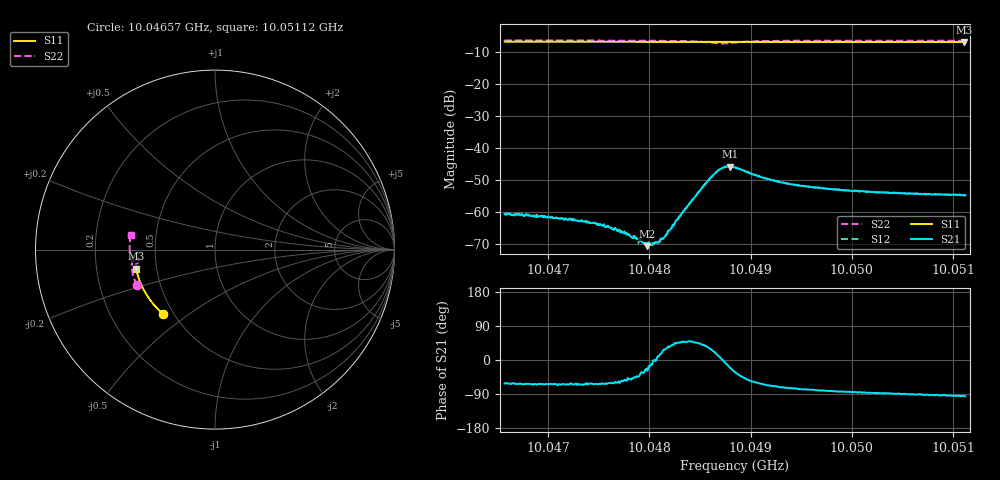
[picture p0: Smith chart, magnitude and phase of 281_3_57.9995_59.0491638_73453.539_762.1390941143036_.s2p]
#  HZ  S  RI  R  50.00
! Rohde & Schwarz Vector Network Analyzer
! Rohde-Schwarz,ZNB20-2Port,1311601062101988,3.16
! Created: UTC 3/21/2024, 1:02:53 AM
! freq[Hz]  re:S11  im:S11  re:S21  im:S21  re:S12  im:S12  re:S22  im:S22
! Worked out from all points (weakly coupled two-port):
!   401 points, 10.04657 GHz to 10.05112 GHz, reference 50 ohm
!   highest |S21| = -45.86 dB at 10.0488 GHz (marker M1); lowest = -70.8 dB at 10.04798 GHz (marker M2)
!   lowest |S11| = -6.9 dB at 10.05111 GHz (marker M3), VSWR 2.66, Z = 19.1 - j5.09 ohm
!   |S11| at or under -10 dB: nowhere
!   |S22| runs from -7.3 to -6.4 dB; largest |S21 - S12| = 0.00034
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1.0046571e10  -0.2898 -0.3585  0.000432 -0.000818  0.000496 -0.000807  -0.4359 -0.1998
1.0047196e10  -0.3199 -0.3301  0.000329 -0.000659  0.000378 -0.000675  -0.4509 -0.1599
1.0047333e10  -0.3261 -0.3235  0.000304 -0.00064  0.000373 -0.000641  -0.4536 -0.1509
1.0047526e10  -0.3349 -0.3141  0.00029 -0.00054  0.000346 -0.000526  -0.4572 -0.1377
1.0047617e10  -0.3386 -0.3096  0.000272 -0.000491  0.000318 -0.000473  -0.4587 -0.1314
1.0047777e10  -0.3455 -0.3015  0.00025 -0.000354  0.000303 -0.00035  -0.4611 -0.1201
1.0047834e10  -0.3478 -0.2986  0.000258 -0.000288  0.000299 -0.000271  -0.4618 -0.116
1.0047982e10  -0.3538 -0.2908  0.000254 -0.000137  0.000307 -8.42e-05  -0.4633 -0.1046
1.0048027e10  -0.3556 -0.2884  0.000294 -6.12e-05  0.000324 -2.3e-05  -0.4637 -0.101
1.0048095e10  -0.3584 -0.2848  0.000329 5.96e-05  0.000321 8.43e-05  -0.464 -0.0956
1.0048152e10  -0.3607 -0.2818  0.000361 0.000182  0.000356 0.000207  -0.4642 -0.0907
1.0048346e10  -0.3679 -0.2714  0.000703 0.000784  0.000637 0.000835  -0.4623 -0.0731
1.0048619e10  -0.3778 -0.2564  0.00323 0.00158  0.00314 0.00176  -0.4391 -0.0514
1.004871e10  -0.3809 -0.2512  0.00472 0.000299  0.00472 0.000572  -0.427 -0.0601
1.0048801e10  -0.3839 -0.2463  0.00474 -0.00187  0.00489 -0.00157  -0.4305 -0.0752
1.0048846e10  -0.3855 -0.244  0.00415 -0.0026  0.00437 -0.00237  -0.4373 -0.0786
1.0049097e10  -0.3938 -0.2299  0.00163 -0.00311  0.00183 -0.00305  -0.464 -0.0635
1.0049267e10  -0.3992 -0.2198  0.000976 -0.00277  0.00118 -0.00275  -0.4702 -0.0484
1.0049609e10  -0.4091 -0.1997  0.000493 -0.00236  0.000583 -0.00237  -0.4748 -0.0213
1.0050371e10  -0.4275 -0.1532  7.83e-05 -0.00197  0.000168 -0.00198  -0.4748 0.0326
1.0051111e10  -0.4403 -0.1063  -0.000157 -0.00179  -4.53e-05 -0.00184  -0.4683 0.082
1.0051122e10  -0.4406 -0.1056  -0.000179 -0.00179  -6.12e-05 -0.00181  -0.4681 0.0827
